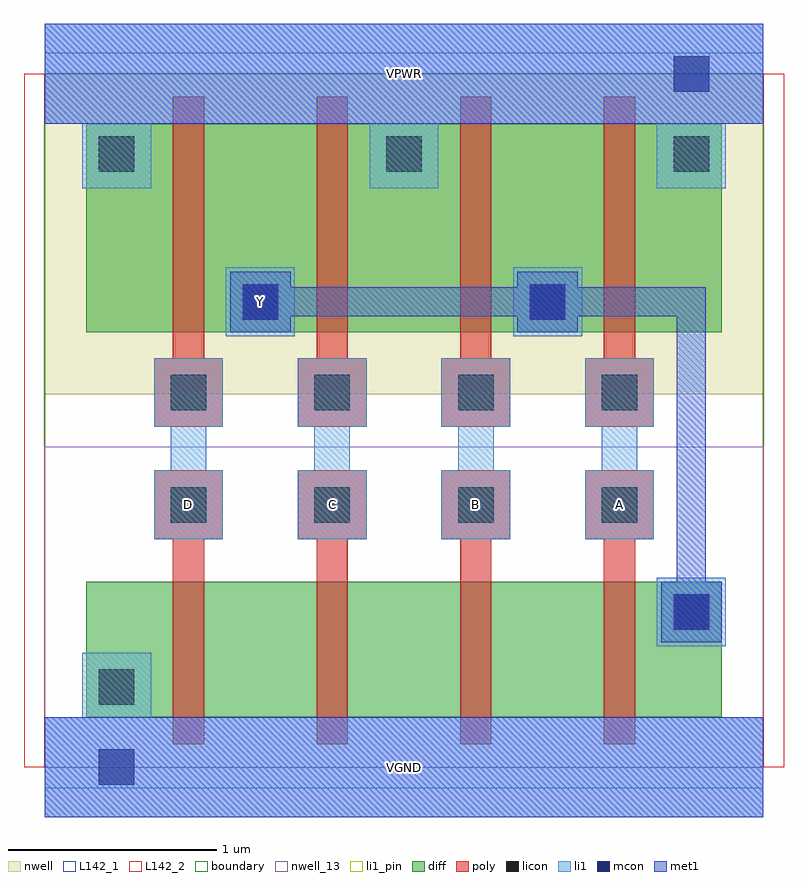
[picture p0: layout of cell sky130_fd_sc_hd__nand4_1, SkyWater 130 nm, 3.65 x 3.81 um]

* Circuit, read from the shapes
.subckt sky130_fd_sc_hd__nand4_1 A B C D VGND VPWR Y
XM1 n1 D VGND VSUBS sky130_fd_pr__nfet_01v8 w=0.65 l=0.15
XM2 n2 C n1 VSUBS sky130_fd_pr__nfet_01v8 w=0.65 l=0.15
XM3 n3 B n2 VSUBS sky130_fd_pr__nfet_01v8 w=0.65 l=0.15
XM4 Y A n3 VSUBS sky130_fd_pr__nfet_01v8 w=0.65 l=0.15
XM5 Y D VPWR n4 sky130_fd_pr__pfet_01v8 w=1 l=0.15
XM6 VPWR C Y n4 sky130_fd_pr__pfet_01v8 w=1 l=0.15
XM7 Y B VPWR n4 sky130_fd_pr__pfet_01v8 w=1 l=0.15
XM8 VPWR A Y n4 sky130_fd_pr__pfet_01v8 w=1 l=0.15
.ends

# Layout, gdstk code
import gdstk
lib = gdstk.Library(unit=1e-6, precision=1e-09)
def R(c, l, rs):  # rectangles x0, y0, x1, y1
    for r in rs: c.add(gdstk.rectangle(r[:2], r[2:], *l))
def A(c, l, x, y, w, h, nx, ny, dx, dy):  # array of equal rectangles
    R(c, l, [(x+i*dx, y+j*dy, x+i*dx+w, y+j*dy+h) for i in range(nx) for j in range(ny)])
def P(c, l, *ps):  # polygons
    for p in ps: c.add(gdstk.Polygon(p, *l))
nwell_13 = (64, 13)
nwell = (64, 20)
diff = (65, 20)
poly = (66, 20)
licon = (66, 44)
li1_pin = (67, 16)
li1 = (67, 20)
mcon = (67, 44)
met1 = (68, 20)
L142_1 = (142, 1)
L142_2 = (142, 2)
boundary = (235, 4)

sky130_fd_sc_hd__nand4_1 = lib.new_cell('sky130_fd_sc_hd__nand4_1')
R(sky130_fd_sc_hd__nand4_1, nwell_13, [(0,0,3.45,1.54)])
R(sky130_fd_sc_hd__nand4_1, nwell, [(0,1.79,3.45,3.33)])
A(sky130_fd_sc_hd__nand4_1, diff, 0.615, 0.24, 0.69, 0.65, 3, 1, 0.69, 0)
A(sky130_fd_sc_hd__nand4_1, diff, 0.615, 2.09, 0.69, 1, 3, 1, 0.69, 0)
R(sky130_fd_sc_hd__nand4_1, diff, [(0.2,0.24,3.25,0.89), (0.2,0.24,0.615,0.89), (2.685,0.24,3.25,0.89), (0.2,2.09,3.25,3.09), (0.2,2.09,0.615,3.09), (2.685,2.09,3.25,3.09)])
P(sky130_fd_sc_hd__nand4_1, poly, [(1.995,0.11),(1.995,1.095),(1.905,1.095),(1.905,1.425),(2.235,1.425),(2.235,1.095),(2.145,1.095),(2.145,0.11)],
  [(1.905,1.635),(1.905,1.965),(1.995,1.965),(1.995,3.22),(2.145,3.22),(2.145,1.965),(2.235,1.965),(2.235,1.635)],
  [(0.615,0.11),(0.615,1.095),(0.525,1.095),(0.525,1.425),(0.855,1.425),(0.855,1.095),(0.765,1.095),(0.765,0.11)],
  [(0.525,1.635),(0.525,1.965),(0.615,1.965),(0.615,3.22),(0.765,3.22),(0.765,1.965),(0.855,1.965),(0.855,1.635)],
  [(1.305,0.11),(1.305,1.095),(1.215,1.095),(1.215,1.425),(1.545,1.425),(1.545,1.095),(1.455,1.095),(1.455,0.11)],
  [(1.215,1.635),(1.215,1.965),(1.305,1.965),(1.305,3.22),(1.455,3.22),(1.455,1.965),(1.545,1.965),(1.545,1.635)],
  [(2.685,0.11),(2.685,1.095),(2.595,1.095),(2.595,1.425),(2.925,1.425),(2.925,1.095),(2.835,1.095),(2.835,0.11)],
  [(2.595,1.635),(2.595,1.965),(2.685,1.965),(2.685,3.22),(2.835,3.22),(2.835,1.965),(2.925,1.965),(2.925,1.635)])
A(sky130_fd_sc_hd__nand4_1, licon, 0.605, 1.175, 0.17, 0.17, 4, 2, 0.69, 0.54)
A(sky130_fd_sc_hd__nand4_1, licon, 0.26, 2.86, 0.17, 0.17, 3, 1, 1.38, 0)
R(sky130_fd_sc_hd__nand4_1, licon, [(0.26,0.3,0.43,0.47), (3.02,0.66,3.19,0.83), (0.95,2.15,1.12,2.32), (2.33,2.15,2.5,2.32)])
R(sky130_fd_sc_hd__nand4_1, li1_pin, [(0,-0.24,3.45,0.24), (0.87,2.07,1.2,2.4), (0,3.09,3.45,3.57)])
P(sky130_fd_sc_hd__nand4_1, li1_pin, [(2.595,1.095),(2.595,1.425),(2.675,1.425),(2.675,1.635),(2.595,1.635),(2.595,1.965),(2.925,1.965),(2.925,1.635),(2.845,1.635),(2.845,1.425),(2.925,1.425),(2.925,1.095)],
  [(1.215,1.095),(1.215,1.425),(1.295,1.425),(1.295,1.635),(1.215,1.635),(1.215,1.965),(1.545,1.965),(1.545,1.635),(1.465,1.635),(1.465,1.425),(1.545,1.425),(1.545,1.095)],
  [(0.525,1.095),(0.525,1.425),(0.605,1.425),(0.605,1.635),(0.525,1.635),(0.525,1.965),(0.855,1.965),(0.855,1.635),(0.775,1.635),(0.775,1.425),(0.855,1.425),(0.855,1.095)],
  [(1.905,1.095),(1.905,1.425),(1.985,1.425),(1.985,1.635),(1.905,1.635),(1.905,1.965),(2.235,1.965),(2.235,1.635),(2.155,1.635),(2.155,1.425),(2.235,1.425),(2.235,1.095)])
R(sky130_fd_sc_hd__nand4_1, li1, [(2.94,0.58,3.27,0.91), (0.87,2.07,1.2,2.4), (2.25,2.07,2.58,2.4)])
P(sky130_fd_sc_hd__nand4_1, li1, [(1.905,1.095),(1.905,1.425),(1.985,1.425),(1.985,1.635),(1.905,1.635),(1.905,1.965),(2.235,1.965),(2.235,1.635),(2.155,1.635),(2.155,1.425),(2.235,1.425),(2.235,1.095)],
  [(0.525,1.095),(0.525,1.425),(0.605,1.425),(0.605,1.635),(0.525,1.635),(0.525,1.965),(0.855,1.965),(0.855,1.635),(0.775,1.635),(0.775,1.425),(0.855,1.425),(0.855,1.095)],
  [(0.18,2.78),(0.18,3.09),(0,3.09),(0,3.57),(3.45,3.57),(3.45,3.09),(3.27,3.09),(3.27,2.78),(2.94,2.78),(2.94,3.09),(1.89,3.09),(1.89,2.78),(1.56,2.78),(1.56,3.09),(0.51,3.09),(0.51,2.78)],
  [(1.215,1.095),(1.215,1.425),(1.295,1.425),(1.295,1.635),(1.215,1.635),(1.215,1.965),(1.545,1.965),(1.545,1.635),(1.465,1.635),(1.465,1.425),(1.545,1.425),(1.545,1.095)],
  [(0,-0.24),(0,0.24),(0.18,0.24),(0.18,0.55),(0.51,0.55),(0.51,0.24),(3.45,0.24),(3.45,-0.24)],
  [(2.595,1.095),(2.595,1.425),(2.675,1.425),(2.675,1.635),(2.595,1.635),(2.595,1.965),(2.925,1.965),(2.925,1.635),(2.845,1.635),(2.845,1.425),(2.925,1.425),(2.925,1.095)])
R(sky130_fd_sc_hd__nand4_1, mcon, [(0.26,-0.085,0.43,0.085), (3.02,0.66,3.19,0.83), (0.95,2.15,1.12,2.32), (2.33,2.15,2.5,2.32), (3.02,3.245,3.19,3.415)])
R(sky130_fd_sc_hd__nand4_1, met1, [(0,-0.24,3.45,0.24), (0,3.09,3.45,3.57)])
P(sky130_fd_sc_hd__nand4_1, met1, [(2.96,0.6),(2.96,0.89),(3.035,0.89),(3.035,2.165),(2.56,2.165),(2.56,2.09),(2.27,2.09),(2.27,2.165),(1.18,2.165),(1.18,2.09),(0.89,2.09),(0.89,2.38),(1.18,2.38),(1.18,2.305),(2.27,2.305),(2.27,2.38),(2.56,2.38),(2.56,2.305),(3.175,2.305),(3.175,0.89),(3.25,0.89),(3.25,0.6)])
R(sky130_fd_sc_hd__nand4_1, L142_1, [(0,-0.1,3.45,0), (0,3.33,3.45,3.43)])
R(sky130_fd_sc_hd__nand4_1, L142_2, [(-0.1,0,0,3.33), (3.45,0,3.55,3.33)])
R(sky130_fd_sc_hd__nand4_1, boundary, [(0,0,3.45,3.33)])
sky130_fd_sc_hd__nand4_1.add(gdstk.Label('Y', (1.035,2.235), layer=67, texttype=5))
sky130_fd_sc_hd__nand4_1.add(gdstk.Label('A', (2.76,1.26), layer=67, texttype=5))
sky130_fd_sc_hd__nand4_1.add(gdstk.Label('C', (1.38,1.26), layer=67, texttype=5))
sky130_fd_sc_hd__nand4_1.add(gdstk.Label('D', (0.69,1.26), layer=67, texttype=5))
sky130_fd_sc_hd__nand4_1.add(gdstk.Label('B', (2.07,1.26), layer=67, texttype=5))
sky130_fd_sc_hd__nand4_1.add(gdstk.Label('VGND', (1.725,0), layer=67, texttype=5))
sky130_fd_sc_hd__nand4_1.add(gdstk.Label('VPWR', (1.725,3.33), layer=67, texttype=5))
sky130_fd_sc_hd__nand4_1.add(gdstk.Label('VGND', (1.725,0), layer=68, texttype=5))
sky130_fd_sc_hd__nand4_1.add(gdstk.Label('VPWR', (1.725,3.33), layer=68, texttype=5))

lib.write_gds('sky130_fd_sc_hd__nand4_1.gds')
